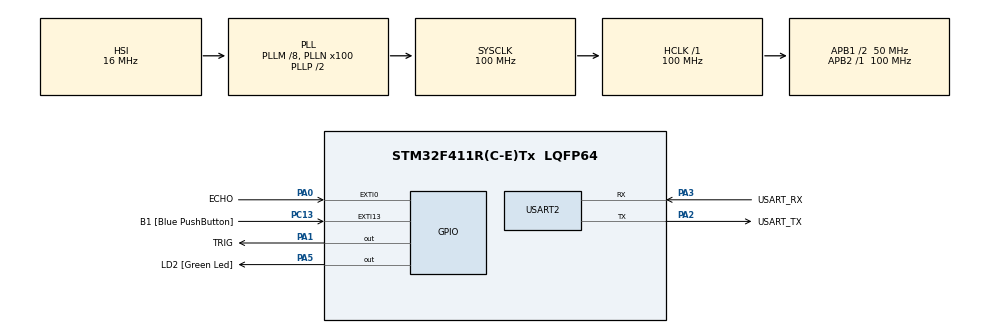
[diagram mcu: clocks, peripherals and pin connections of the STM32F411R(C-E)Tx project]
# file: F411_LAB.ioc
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FREERTOS.Mutexes01=myMutex01,Dynamic,NULL,Available
FREERTOS.Tasks01=defaultTask,24,128,StartDefaultTask,Default,NULL,Dynamic,NULL,NULL;myTask02,25,256,StartUltrasonicTask,Default,NULL,Dynamic,NULL,NULL;myTask03,25,256,StartDhtTask,Default,NULL,Dynamic,NULL,NULL
FREERTOS.configTOTAL_HEAP_SIZE=16384
Mcu.Family=STM32F4
Mcu.Name=STM32F411R(C-E)Tx
Mcu.Package=LQFP64
NVIC.EXTI0_IRQn=true\:5\:0\:false\:false\:true\:true\:true\:true\:true
NVIC.EXTI15_10_IRQn=true\:5\:0\:false\:false\:true\:true\:true\:true\:true
NVIC.PriorityGroup=NVIC_PRIORITYGROUP_4
PA0-WKUP.GPIO_Label=ECHO
PA0-WKUP.GPIO_ModeDefaultEXTI=GPIO_MODE_IT_RISING_FALLING
PA0-WKUP.Signal=GPXTI0
PA1.GPIO_Label=TRIG
PA1.Signal=GPIO_Output
PA13.GPIO_Label=TMS
PA13.Mode=Trace_Asynchronous_SW
PA13.Signal=SYS_JTMS-SWDIO
PA14.GPIO_Label=TCK
PA14.Mode=Trace_Asynchronous_SW
PA14.Signal=SYS_JTCK-SWCLK
PA2.GPIO_Label=USART_TX
PA2.Mode=Asynchronous
PA2.Signal=USART2_TX
PA3.GPIO_Label=USART_RX
PA3.Mode=Asynchronous
PA3.Signal=USART2_RX
PA5.GPIO_Label=LD2 [Green Led]
PA5.Signal=GPIO_Output
PB3.GPIO_Label=SWO
PB3.Mode=Trace_Asynchronous_SW
PB3.Signal=SYS_JTDO-SWO
PC13-ANTI_TAMP.GPIO_Label=B1 [Blue PushButton]
PC13-ANTI_TAMP.GPIO_ModeDefaultEXTI=GPIO_MODE_IT_FALLING
PC13-ANTI_TAMP.Signal=GPXTI13
PC14-OSC32_IN.Signal=RCC_OSC32_IN
PC15-OSC32_OUT.Signal=RCC_OSC32_OUT
PH0\ -\ OSC_IN.Signal=RCC_OSC_IN
PH1\ -\ OSC_OUT.Signal=RCC_OSC_OUT
ProjectManager.HeapSize=0x200
ProjectManager.StackSize=0x400
ProjectManager.TargetToolchain=STM32CubeIDE
RCC.48MHZClocksFreq_Value=28571428.57142857
RCC.AHBFreq_Value=100000000
RCC.APB1CLKDivider=RCC_HCLK_DIV2
RCC.APB1Freq_Value=50000000
RCC.APB1TimFreq_Value=100000000
RCC.APB2Freq_Value=100000000
RCC.APB2TimFreq_Value=100000000
RCC.CortexFreq_Value=100000000
RCC.FLatency-AdvancedSettings=FLASH_LATENCY_3
RCC.HCLKFreq_Value=100000000
RCC.HSE_VALUE=8000000
RCC.HSI_VALUE=16000000
RCC.LSE_VALUE=32768
RCC.PLLM=8
RCC.PLLMUL=RCC_PLL_MUL9
RCC.PLLN=100
RCC.PLLQ=7
RCC.RCC_PLLsource_Clock_Source_FROM_HSE=RCC_HSE_PREDIV_DIV2
RCC.SYSCLKFreq_VALUE=100000000
RCC.SYSCLKSource=RCC_SYSCLKSOURCE_PLLCLK
RCC.SYSCLKSourceVirtual=RCC_SYSCLKSOURCE_PLLCLK
RCC.VCOOutputFreq_Value=200000000
STMicroelectronics.X-CUBE-AI.10.2.1.ActivationBufferSizeList=5768
STMicroelectronics.X-CUBE-AI.10.2.1.ActivationBuffers=pool0
STMicroelectronics.X-CUBE-AI.10.2.1.ActivationNames=pool0
STMicroelectronics.X-CUBE-AI.10.2.1.ActivationSizes=AI_NETWORK_DATA_ACTIVATION_1_SIZE
STMicroelectronics.X-CUBE-AI.10.2.1.ApplicationCcDeviceJjApplication=ApplicationTemplate
STMicroelectronics.X-CUBE-AI.10.2.1.HeapSize=0x800
STMicroelectronics.X-CUBE-AI.10.2.1.InternalRamActivationBufferMaxSize=AI_NETWORK_DATA_ACTIVATIONS_SIZE
STMicroelectronics.X-CUBE-AI.10.2.1.LatestDirectoryUsed-a5a77986fab4d6a770e7158c476e485ef0dc0a7b218a918529ddd5df9fe14cc6=C\:\\Users\\user
STMicroelectronics.X-CUBE-AI.10.2.1.MaximumNumberOfInputLayer=1
STMicroelectronics.X-CUBE-AI.10.2.1.MaximumNumberOfOutputLayer=1
STMicroelectronics.X-CUBE-AI.10.2.1.MaximumSizeOfInputLayer=1
STMicroelectronics.X-CUBE-AI.10.2.1.MaximumSizeOfOutputLayer=1
STMicroelectronics.X-CUBE-AI.10.2.1.ModelActualCompression-a5a77986fab4d6a770e7158c476e485ef0dc0a7b218a918529ddd5df9fe14cc6=0.0
STMicroelectronics.X-CUBE-AI.10.2.1.ModelCompression-a5a77986fab4d6a770e7158c476e485ef0dc0a7b218a918529ddd5df9fe14cc6=None
STMicroelectronics.X-CUBE-AI.10.2.1.ModelFlashOccupation-a5a77986fab4d6a770e7158c476e485ef0dc0a7b218a918529ddd5df9fe14cc6=124493
STMicroelectronics.X-CUBE-AI.10.2.1.ModelHashList=a5a77986fab4d6a770e7158c476e485ef0dc0a7b218a918529ddd5df9fe14cc6
STMicroelectronics.X-CUBE-AI.10.2.1.ModelKind-a5a77986fab4d6a770e7158c476e485ef0dc0a7b218a918529ddd5df9fe14cc6=TFLITE
STMicroelectronics.X-CUBE-AI.10.2.1.ModelMacc-a5a77986fab4d6a770e7158c476e485ef0dc0a7b218a918529ddd5df9fe14cc6=109536
STMicroelectronics.X-CUBE-AI.10.2.1.ModelName-a5a77986fab4d6a770e7158c476e485ef0dc0a7b218a918529ddd5df9fe14cc6=network
STMicroelectronics.X-CUBE-AI.10.2.1.ModelNameList=network
STMicroelectronics.X-CUBE-AI.10.2.1.ModelRamOccupation-a5a77986fab4d6a770e7158c476e485ef0dc0a7b218a918529ddd5df9fe14cc6=5768
STMicroelectronics.X-CUBE-AI.10.2.1.ModelStructureFile-a5a77986fab4d6a770e7158c476e485ef0dc0a7b218a918529ddd5df9fe14cc6=C\:\\Users\\user\\mnist_int8_quantized.tflite
STMicroelectronics.X-CUBE-AI.10.2.1.ModelType-a5a77986fab4d6a770e7158c476e485ef0dc0a7b218a918529ddd5df9fe14cc6=STM32Cube.AI MCU runtime
STMicroelectronics.X-CUBE-AI.10.2.1.ReadyForCodeGeneration=true
STMicroelectronics.X-CUBE-AI.10.2.1.StackSize=0x800
STMicroelectronics.X-CUBE-AI.10.2.1.WorkingBufferStartAddrList=0xFFFFFFFF
STMicroelectronics.X-CUBE-AI.10.2.1.XAaCUBEAaAICcArtificialOoIntelligenceJjCore=true
STMicroelectronics.X-CUBE-AI.10.2.1.copyWeightToRam=false
STMicroelectronics.X-CUBE-AI.10.2.1.customLayerConfigEnabled=false
STMicroelectronics.X-CUBE-AI.10.2.1.noOnnxIoTranspose=false
STMicroelectronics.X-CUBE-AI.10.2.1.useInputAllocation=true
STMicroelectronics.X-CUBE-AI.10.2.1.useOutputAllocation=true
TIM1.AutoReloadPreload=TIM_AUTORELOAD_PRELOAD_ENABLE
TIM1.Prescaler=84-1
USART2.VirtualMode=VM_ASYNC
VP_FREERTOS_VS_CMSIS_V2.Mode=CMSIS_V2
VP_STMicroelectronics.X-CUBE-AI_VS_ArtificialOoIntelligenceJjXAaCUBEAaAI_10.2.1.Mode=ArtificialOoIntelligenceJjXAaCUBEAaAI
VP_STMicroelectronics.X-CUBE-AI_VS_DeviceJjApplication_10.2.1.Mode=DeviceJjApplication
VP_TIM1_VS_ClockSourceINT.Mode=Internal
board=NUCLEO-F411RE

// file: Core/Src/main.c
/* USER CODE BEGIN Header */
/**
  ******************************************************************************
  * @file           : main.c
  * @brief          : Main program body
  ******************************************************************************
  * @attention
  *
  * Copyright (c) 2026 STMicroelectronics.
  * All rights reserved.
  *
  * This software is licensed under terms that can be found in the LICENSE file
  * in the root directory of this software component.
  * If no LICENSE file comes with this software, it is provided AS-IS.
  *
  ******************************************************************************
  */
/* USER CODE END Header */
#include "main.h"
#include "cmsis_os.h"
#include "app_x-cube-ai.h"

/* USER CODE BEGIN Includes */
#include <stdio.h>
#include "ultrasonic.h"
#include "dht.h"
/* USER CODE END Includes */

TIM_HandleTypeDef htim1;

UART_HandleTypeDef huart2;

/* Definitions for defaultTask */
osThreadId_t defaultTaskHandle;
const osThreadAttr_t defaultTask_attributes = {
  .name = "defaultTask",
  .stack_size = 128 * 4,
  .priority = (osPriority_t) osPriorityNormal,
};
/* Definitions for myTask02 */
osThreadId_t myTask02Handle;
const osThreadAttr_t myTask02_attributes = {
  .name = "myTask02",
  .stack_size = 256 * 4,
  .priority = (osPriority_t) osPriorityNormal1,
};
/* Definitions for myTask03 */
osThreadId_t myTask03Handle;
const osThreadAttr_t myTask03_attributes = {
  .name = "myTask03",
  .stack_size = 256 * 4,
  .priority = (osPriority_t) osPriorityNormal1,
};
/* Definitions for myMutex01 */
osMutexId_t myMutex01Handle;
const osMutexAttr_t myMutex01_attributes = {
  .name = "myMutex01"
};

void SystemClock_Config(void);
static void MX_GPIO_Init(void);
static void MX_TIM1_Init(void);
static void MX_USART2_UART_Init(void);
void StartDefaultTask(void *argument);
void StartUltrasonicTask(void *argument);
void StartDhtTask(void *argument);

/* USER CODE BEGIN 0 */
#ifdef __GNUC__
#define PUTCHAR_PROTOTYPE int __io_putchar(int ch)
#else
#define PUTCHAR_PROTOTYPE int fputc(int ch, FILE *f)
#endif

PUTCHAR_PROTOTYPE
{
  if (ch == '\n')
  {
    HAL_UART_Transmit(&huart2, (uint8_t *)"\r", 1, 0xFFFF);
  }
  HAL_UART_Transmit(&huart2, (uint8_t *)&ch, 1, 0xFFFF);

  return ch;
}

static uint16_t Sensor_SoundSpeedX10(int16_t temperature_c_x10, uint16_t humidity_rh_x10)
{
  int32_t speed_x10;

  speed_x10 = 3313 + ((606 * (int32_t)temperature_c_x10) / 1000);
  speed_x10 += (12 * (int32_t)humidity_rh_x10) / 1000;

  if (speed_x10 < 2500)
  {
    speed_x10 = 2500;
  }
  else if (speed_x10 > 4000)
  {
    speed_x10 = 4000;
  }

  return (uint16_t)speed_x10;
}

/*static void Sensor_Task(void)
{
  Ultrasonic_Result result;
  Dht_Result dht;
  char line[96];
  int32_t temperature;

  Dht_Task();
  Ultrasonic_Task();

  if (Dht_GetResult(&dht) != 0U)
  {
    temperature = (int32_t)dht.temperature_c_x10;
    (void)snprintf(line, sizeof(line), "TH,%lu,%d,%u,%u,%lu\n",
                   (unsigned long)dht.timestamp_ms,
                   (int)temperature,
                   (unsigned int)dht.humidity_rh_x10,
                   (unsigned int)dht.valid,
                   (unsigned long)dht.errors);
    printf("%s", line);
    printf("ENV,%c%u.%uC,%u.%u%%RH\n",
           (temperature < 0) ? '-' : '+',
           (unsigned int)((temperature < 0) ? -temperature : temperature) / 10U,
           (unsigned int)((temperature < 0) ? -temperature : temperature) % 10U,
           (unsigned int)dht.humidity_rh_x10 / 10U,
           (unsigned int)dht.humidity_rh_x10 % 10U);

    if (dht.valid != 0U)
    {
      uint16_t speed_x10 = Sensor_SoundSpeedX10(dht.temperature_c_x10,
                                                dht.humidity_rh_x10);
      Ultrasonic_SetSoundSpeedX10(speed_x10);
      printf("S,%u\n", (unsigned int)speed_x10);
    }
  }

  if (Ultrasonic_GetResult(&result) != 0U)
  {
    (void)snprintf(line, sizeof(line), "D,%lu,%u,%u,%lu\n",
                   (unsigned long)result.timestamp_ms,
                   (unsigned int)result.distance_mm,
                   (unsigned int)result.valid,
                   (unsigned long)result.errors);
    printf("%s", line);
    printf("C,%u\n", (unsigned int)Ultrasonic_GetLastEchoTicks());
  }
}*/
/* USER CODE END 0 */

int main(void)
{

  /* MCU Configuration--------------------------------------------------------*/

  /* Reset of all peripherals, Initializes the Flash interface and the Systick. */
  HAL_Init();

  /* Configure the system clock */
  SystemClock_Config();

  /* Initialize all configured peripherals */
  MX_GPIO_Init();
  MX_TIM1_Init();
  MX_USART2_UART_Init();
  MX_X_CUBE_AI_Init();
  /* USER CODE BEGIN 2 */
  Ultrasonic_Init();
  Dht_Init();
  printf("\n=== F411_TASK_LAB Step 3: Ultrasonic + DHT ===\n");
  printf("HC-SR04: TRIG=PA1, ECHO=PA0, 5 Hz sample, 1 Hz median\n");
  printf("DHTxx: DATA=PA4, 2 s sample, TIM1 1 MHz timebase\n");
  printf("TIM1: PCLK2=%luHz divider=%lu ARR=%lu tick=%luHz\n",
         (unsigned long)HAL_RCC_GetPCLK2Freq(),
         (unsigned long)(htim1.Init.Prescaler + 1U),
         (unsigned long)htim1.Init.Period,
         (unsigned long)(HAL_RCC_GetPCLK2Freq() / (htim1.Init.Prescaler + 1U)));
  /* USER CODE END 2 */

  /* Init scheduler */
  osKernelInitialize();
  /* Create the mutex(es) */
  /* creation of myMutex01 */
  myMutex01Handle = osMutexNew(&myMutex01_attributes);

  /* Create the thread(s) */
  /* creation of defaultTask */
  defaultTaskHandle = osThreadNew(StartDefaultTask, NULL, &defaultTask_attributes);

  /* creation of myTask02 */
  myTask02Handle = osThreadNew(StartUltrasonicTask, NULL, &myTask02_attributes);

  /* creation of myTask03 */
  myTask03Handle = osThreadNew(StartDhtTask, NULL, &myTask03_attributes);

  /* Start scheduler */
  osKernelStart();

  /* We should never get here as control is now taken by the scheduler */

  /* Infinite loop */
  while (1)
  {

    /* USER CODE BEGIN 3 */
//    Sensor_Task();
  }
  /* USER CODE END 3 */
}

void SystemClock_Config(void)
{
  RCC_OscInitTypeDef RCC_OscInitStruct = {0};
  RCC_ClkInitTypeDef RCC_ClkInitStruct = {0};

  /** Configure the main internal regulator output voltage
  */
  __HAL_RCC_PWR_CLK_ENABLE();
  __HAL_PWR_VOLTAGESCALING_CONFIG(PWR_REGULATOR_VOLTAGE_SCALE1);

  /** Initializes the RCC Oscillators according to the specified parameters
  * in the RCC_OscInitTypeDef structure.
  */
  RCC_OscInitStruct.OscillatorType = RCC_OSCILLATORTYPE_HSI;
  RCC_OscInitStruct.HSIState = RCC_HSI_ON;
  RCC_OscInitStruct.HSICalibrationValue = RCC_HSICALIBRATION_DEFAULT;
  RCC_OscInitStruct.PLL.PLLState = RCC_PLL_ON;
  RCC_OscInitStruct.PLL.PLLSource = RCC_PLLSOURCE_HSI;
  RCC_OscInitStruct.PLL.PLLM = 8;
  RCC_OscInitStruct.PLL.PLLN = 100;
  RCC_OscInitStruct.PLL.PLLP = RCC_PLLP_DIV2;
  RCC_OscInitStruct.PLL.PLLQ = 7;
  if (HAL_RCC_OscConfig(&RCC_OscInitStruct) != HAL_OK)
  {
    Error_Handler();
  }

  /** Initializes the CPU, AHB and APB buses clocks
  */
  RCC_ClkInitStruct.ClockType = RCC_CLOCKTYPE_HCLK|RCC_CLOCKTYPE_SYSCLK
                              |RCC_CLOCKTYPE_PCLK1|RCC_CLOCKTYPE_PCLK2;
  RCC_ClkInitStruct.SYSCLKSource = RCC_SYSCLKSOURCE_PLLCLK;
  RCC_ClkInitStruct.AHBCLKDivider = RCC_SYSCLK_DIV1;
  RCC_ClkInitStruct.APB1CLKDivider = RCC_HCLK_DIV2;
  RCC_ClkInitStruct.APB2CLKDivider = RCC_HCLK_DIV1;

  if (HAL_RCC_ClockConfig(&RCC_ClkInitStruct, FLASH_LATENCY_3) != HAL_OK)
  {
    Error_Handler();
  }
}

static void MX_TIM1_Init(void)
{

  TIM_ClockConfigTypeDef sClockSourceConfig = {0};
  TIM_MasterConfigTypeDef sMasterConfig = {0};

  htim1.Instance = TIM1;
  htim1.Init.Prescaler = 84-1;
  htim1.Init.CounterMode = TIM_COUNTERMODE_UP;
  htim1.Init.Period = 65535;
  htim1.Init.ClockDivision = TIM_CLOCKDIVISION_DIV1;
  htim1.Init.RepetitionCounter = 0;
  htim1.Init.AutoReloadPreload = TIM_AUTORELOAD_PRELOAD_ENABLE;
  if (HAL_TIM_Base_Init(&htim1) != HAL_OK)
  {
    Error_Handler();
  }
  sClockSourceConfig.ClockSource = TIM_CLOCKSOURCE_INTERNAL;
  if (HAL_TIM_ConfigClockSource(&htim1, &sClockSourceConfig) != HAL_OK)
  {
    Error_Handler();
  }
  sMasterConfig.MasterOutputTrigger = TIM_TRGO_RESET;
  sMasterConfig.MasterSlaveMode = TIM_MASTERSLAVEMODE_DISABLE;
  if (HAL_TIMEx_MasterConfigSynchronization(&htim1, &sMasterConfig) != HAL_OK)
  {
    Error_Handler();
  }

}

static void MX_USART2_UART_Init(void)
{

  huart2.Instance = USART2;
  huart2.Init.BaudRate = 115200;
  huart2.Init.WordLength = UART_WORDLENGTH_8B;
  huart2.Init.StopBits = UART_STOPBITS_1;
  huart2.Init.Parity = UART_PARITY_NONE;
  huart2.Init.Mode = UART_MODE_TX_RX;
  huart2.Init.HwFlowCtl = UART_HWCONTROL_NONE;
  huart2.Init.OverSampling = UART_OVERSAMPLING_16;
  if (HAL_UART_Init(&huart2) != HAL_OK)
  {
    Error_Handler();
  }

}

static void MX_GPIO_Init(void)
{
  GPIO_InitTypeDef GPIO_InitStruct = {0};

  /* GPIO Ports Clock Enable */
  __HAL_RCC_GPIOC_CLK_ENABLE();
  __HAL_RCC_GPIOH_CLK_ENABLE();
  __HAL_RCC_GPIOA_CLK_ENABLE();
  __HAL_RCC_GPIOB_CLK_ENABLE();

  /*Configure GPIO pin Output Level */
  HAL_GPIO_WritePin(GPIOA, TRIG_Pin|LD2_Pin, GPIO_PIN_RESET);

  /*Configure GPIO pin : B1_Pin */
  GPIO_InitStruct.Pin = B1_Pin;
  GPIO_InitStruct.Mode = GPIO_MODE_IT_FALLING;
  GPIO_InitStruct.Pull = GPIO_NOPULL;
  HAL_GPIO_Init(B1_GPIO_Port, &GPIO_InitStruct);

  /*Configure GPIO pin : ECHO_Pin */
  GPIO_InitStruct.Pin = ECHO_Pin;
  GPIO_InitStruct.Mode = GPIO_MODE_IT_RISING_FALLING;
  GPIO_InitStruct.Pull = GPIO_NOPULL;
  HAL_GPIO_Init(ECHO_GPIO_Port, &GPIO_InitStruct);

  /*Configure GPIO pins : TRIG_Pin LD2_Pin */
  GPIO_InitStruct.Pin = TRIG_Pin|LD2_Pin;
  GPIO_InitStruct.Mode = GPIO_MODE_OUTPUT_PP;
  GPIO_InitStruct.Pull = GPIO_NOPULL;
  GPIO_InitStruct.Speed = GPIO_SPEED_FREQ_LOW;
  HAL_GPIO_Init(GPIOA, &GPIO_InitStruct);

  /* EXTI interrupt init*/
  HAL_NVIC_SetPriority(EXTI0_IRQn, 5, 0);
  HAL_NVIC_EnableIRQ(EXTI0_IRQn);

  HAL_NVIC_SetPriority(EXTI15_10_IRQn, 5, 0);
  HAL_NVIC_EnableIRQ(EXTI15_10_IRQn);

}

/* USER CODE BEGIN 4 */
void HAL_GPIO_EXTI_Callback(uint16_t GPIO_Pin)
{
  if (GPIO_Pin == ECHO_Pin)
  {
    Ultrasonic_OnEchoEdge();
  }
  else if (GPIO_Pin == B1_Pin)
  {
    HAL_GPIO_TogglePin(LD2_GPIO_Port, LD2_Pin);
  }
}
/* USER CODE END 4 */

void StartDefaultTask(void *argument)
{
  for(;;)
  {
    osDelay(1);
  }
}

void StartUltrasonicTask(void *argument)
{
  /* USER CODE BEGIN StartUltrasonicTask */
  Ultrasonic_Result result;
  char line[80];

  for(;;)
  {
	Ultrasonic_Task();

	if (Ultrasonic_GetResult(&result) != 0U)
	{
	  (void)snprintf(line, sizeof(line), "D,%lu,%u,%u,%lu\n",
					 (unsigned long)result.timestamp_ms,
					 (unsigned int)result.distance_mm,
					 (unsigned int)result.valid,
					 (unsigned long)result.errors);

	  (void)osMutexAcquire(myMutex01Handle, osWaitForever);
	  printf("%s", line);
	  printf("C,%u\n", (unsigned int)Ultrasonic_GetLastEchoTicks());
	  (void)osMutexRelease(myMutex01Handle);
	}

	osDelay(10);
  }
  /* USER CODE END StartUltrasonicTask */
}

void StartDhtTask(void *argument)
{
  /* USER CODE BEGIN StartDhtTask */
  Dht_Result dht;
  char line[96];
  int32_t temperature;
  uint16_t speed_x10;

  for(;;)
  {
	Dht_Task();

	if (Dht_GetResult(&dht) != 0U)
	{
	  temperature = (int32_t)dht.temperature_c_x10;
	  (void)snprintf(line, sizeof(line), "TH,%lu,%d,%u,%u,%lu\n",
					 (unsigned long)dht.timestamp_ms,
					 (int)temperature,
					 (unsigned int)dht.humidity_rh_x10,
					 (unsigned int)dht.valid,
					 (unsigned long)dht.errors);

	  (void)osMutexAcquire(myMutex01Handle, osWaitForever);
	  printf("%s", line);
	  printf("ENV,%c%u.%uC,%u.%u%%RH\n",
			 (temperature < 0) ? '-' : '+',
			 (unsigned int)((temperature < 0) ? -temperature : temperature) / 10U,
			 (unsigned int)((temperature < 0) ? -temperature : temperature) % 10U,
			 (unsigned int)dht.humidity_rh_x10 / 10U,
			 (unsigned int)dht.humidity_rh_x10 % 10U);

	  if (dht.valid != 0U)
	  {
		speed_x10 = Sensor_SoundSpeedX10(dht.temperature_c_x10,
										 dht.humidity_rh_x10);
		Ultrasonic_SetSoundSpeedX10(speed_x10);
		printf("S,%u\n", (unsigned int)speed_x10);
	  }
	  (void)osMutexRelease(myMutex01Handle);
	}

	osDelay(100);
  }
  /* USER CODE END StartDhtTask */
}

void Error_Handler(void)
{
  __disable_irq();
  while (1)
  {
  }
}
